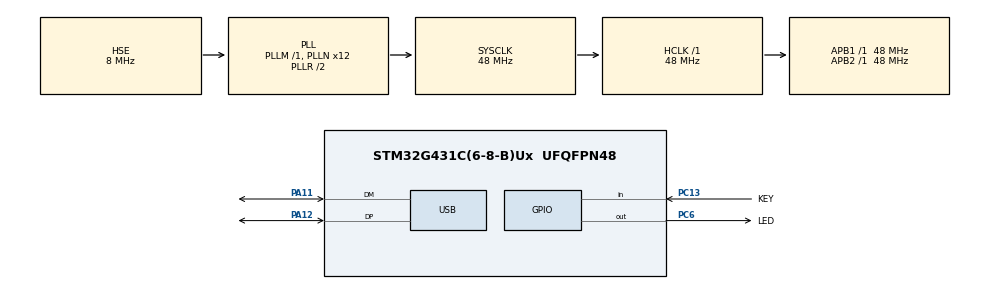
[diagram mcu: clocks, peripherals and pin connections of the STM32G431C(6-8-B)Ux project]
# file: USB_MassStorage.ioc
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Mcu.Family=STM32G4
Mcu.Name=STM32G431C(6-8-B)Ux
Mcu.Package=UFQFPN48
NVIC.PriorityGroup=NVIC_PRIORITYGROUP_4
NVIC.USB_LP_IRQn=true\:0\:0\:false\:false\:true\:false\:true\:true
PA11.Mode=Device
PA11.Signal=USB_DM
PA12.Mode=Device
PA12.Signal=USB_DP
PA13.Mode=Serial_Wire
PA13.Signal=SYS_JTMS-SWDIO
PA14.Mode=Serial_Wire
PA14.Signal=SYS_JTCK-SWCLK
PC13.GPIO_Label=KEY
PC13.GPIO_PuPd=GPIO_PULLDOWN
PC13.Signal=GPIO_Input
PC6.GPIO_Label=LED
PC6.GPIO_ModeDefaultOutputPP=GPIO_MODE_OUTPUT_PP
PC6.GPIO_Speed=GPIO_SPEED_FREQ_LOW
PC6.PinState=GPIO_PIN_RESET
PC6.Signal=GPIO_Output
PF0-OSC_IN.Mode=HSE-External-Oscillator
PF0-OSC_IN.Signal=RCC_OSC_IN
PF1-OSC_OUT.Mode=HSE-External-Oscillator
PF1-OSC_OUT.Signal=RCC_OSC_OUT
ProjectManager.HeapSize=0x200
ProjectManager.StackSize=0x400
ProjectManager.TargetToolchain=STM32CubeIDE
RCC.ADC12Freq_Value=48000000
RCC.AHBFreq_Value=48000000
RCC.APB1Freq_Value=48000000
RCC.APB1TimFreq_Value=48000000
RCC.APB2Freq_Value=48000000
RCC.APB2TimFreq_Value=48000000
RCC.CortexFreq_Value=48000000
RCC.EXTERNAL_CLOCK_VALUE=12288000
RCC.HCLKFreq_Value=48000000
RCC.HSE_VALUE=8000000
RCC.HSI48_VALUE=48000000
RCC.HSI_VALUE=16000000
RCC.LSE_VALUE=32768
RCC.PLLN=12
RCC.PLLSourceVirtual=RCC_PLLSOURCE_HSE
RCC.SYSCLKFreq_VALUE=48000000
RCC.SYSCLKSource=RCC_SYSCLKSOURCE_PLLCLK
RCC.USBFreq_Value=48000000
RCC.VCOOutputFreq_Value=96000000
USB_DEVICE.CLASS_NAME_FS=MSC
USB_DEVICE.VirtualMode=Msc
USB_DEVICE.VirtualModeFS=Msc_FS
VP_SYS_VS_DBSignals.Mode=DisableDeadBatterySignals
VP_USB_DEVICE_VS_USB_DEVICE_MSC_FS.Mode=MSC_FS
board=custom

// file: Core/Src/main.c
/* USER CODE BEGIN Header */
/**
  ******************************************************************************
  * @file           : main.c
  * @brief          : Main program body
  ******************************************************************************
  * @attention
  *
  * Copyright (c) 2025 STMicroelectronics.
  * All rights reserved.
  *
  * This software is licensed under terms that can be found in the LICENSE file
  * in the root directory of this software component.
  * If no LICENSE file comes with this software, it is provided AS-IS.
  *
  ******************************************************************************
  */
/* USER CODE END Header */
#include "main.h"
#include "usb_device.h"

/* USER CODE BEGIN PV */

extern USBD_HandleTypeDef hUsbDeviceFS;

/* USER CODE END PV */

void SystemClock_Config(void);
static void MX_GPIO_Init(void);

/* USER CODE BEGIN 0 */
#define APP_DEFAULT_ADD	0x08008000U

void GoToUserApp(void)
{
	uint32_t appJumpAddress;
	void (*GoToApp)(void);

	appJumpAddress = *((volatile uint32_t*)(APP_DEFAULT_ADD + 4));
	GoToApp = (void (*)(void))appJumpAddress;
	SCB->VTOR = APP_DEFAULT_ADD;
	__set_MSP(*((volatile uint32_t*) APP_DEFAULT_ADD)); //stack pointer (to RAM) for USER app in this address
	GoToApp();
}
/* USER CODE END 0 */

int main(void)
{

  /* MCU Configuration--------------------------------------------------------*/

  /* Reset of all peripherals, Initializes the Flash interface and the Systick. */
  HAL_Init();

  /* Configure the system clock */
  SystemClock_Config();

  /* Initialize all configured peripherals */
  MX_GPIO_Init();
  MX_USB_Device_Init();
  /* USER CODE BEGIN 2 */

	// Check if the KEY Button is pressed
	if(HAL_GPIO_ReadPin(KEY_GPIO_Port, KEY_Pin ) == GPIO_PIN_RESET)
	{
		HAL_GPIO_DeInit(LED_GPIO_Port, LED_Pin);
		HAL_GPIO_DeInit(KEY_GPIO_Port, KEY_Pin);
		USBD_DeInit(&hUsbDeviceFS);

		GoToUserApp();
	}

  /* USER CODE END 2 */

  /* Infinite loop */
  /* USER CODE BEGIN WHILE */
  while (1)
  {
	  HAL_GPIO_TogglePin(LED_GPIO_Port, LED_Pin);
	  HAL_Delay(100);
    /* USER CODE END WHILE */

  }
}

void SystemClock_Config(void)
{
  RCC_OscInitTypeDef RCC_OscInitStruct = {0};
  RCC_ClkInitTypeDef RCC_ClkInitStruct = {0};

  /** Configure the main internal regulator output voltage
  */
  HAL_PWREx_ControlVoltageScaling(PWR_REGULATOR_VOLTAGE_SCALE1);

  /** Initializes the RCC Oscillators according to the specified parameters
  * in the RCC_OscInitTypeDef structure.
  */
  RCC_OscInitStruct.OscillatorType = RCC_OSCILLATORTYPE_HSE;
  RCC_OscInitStruct.HSEState = RCC_HSE_ON;
  RCC_OscInitStruct.PLL.PLLState = RCC_PLL_ON;
  RCC_OscInitStruct.PLL.PLLSource = RCC_PLLSOURCE_HSE;
  RCC_OscInitStruct.PLL.PLLM = RCC_PLLM_DIV1;
  RCC_OscInitStruct.PLL.PLLN = 12;
  RCC_OscInitStruct.PLL.PLLP = RCC_PLLP_DIV2;
  RCC_OscInitStruct.PLL.PLLQ = RCC_PLLQ_DIV2;
  RCC_OscInitStruct.PLL.PLLR = RCC_PLLR_DIV2;
  if (HAL_RCC_OscConfig(&RCC_OscInitStruct) != HAL_OK)
  {
    Error_Handler();
  }

  /** Initializes the CPU, AHB and APB buses clocks
  */
  RCC_ClkInitStruct.ClockType = RCC_CLOCKTYPE_HCLK|RCC_CLOCKTYPE_SYSCLK
                              |RCC_CLOCKTYPE_PCLK1|RCC_CLOCKTYPE_PCLK2;
  RCC_ClkInitStruct.SYSCLKSource = RCC_SYSCLKSOURCE_PLLCLK;
  RCC_ClkInitStruct.AHBCLKDivider = RCC_SYSCLK_DIV1;
  RCC_ClkInitStruct.APB1CLKDivider = RCC_HCLK_DIV1;
  RCC_ClkInitStruct.APB2CLKDivider = RCC_HCLK_DIV1;

  if (HAL_RCC_ClockConfig(&RCC_ClkInitStruct, FLASH_LATENCY_1) != HAL_OK)
  {
    Error_Handler();
  }
}

static void MX_GPIO_Init(void)
{
  GPIO_InitTypeDef GPIO_InitStruct = {0};

  /* GPIO Ports Clock Enable */
  __HAL_RCC_GPIOC_CLK_ENABLE();
  __HAL_RCC_GPIOF_CLK_ENABLE();
  __HAL_RCC_GPIOA_CLK_ENABLE();

  /*Configure GPIO pin Output Level */
  HAL_GPIO_WritePin(LED_GPIO_Port, LED_Pin, GPIO_PIN_RESET);

  /*Configure GPIO pin : KEY_Pin */
  GPIO_InitStruct.Pin = KEY_Pin;
  GPIO_InitStruct.Mode = GPIO_MODE_INPUT;
  GPIO_InitStruct.Pull = GPIO_PULLDOWN;
  HAL_GPIO_Init(KEY_GPIO_Port, &GPIO_InitStruct);

  /*Configure GPIO pin : LED_Pin */
  GPIO_InitStruct.Pin = LED_Pin;
  GPIO_InitStruct.Mode = GPIO_MODE_OUTPUT_PP;
  GPIO_InitStruct.Pull = GPIO_NOPULL;
  GPIO_InitStruct.Speed = GPIO_SPEED_FREQ_LOW;
  HAL_GPIO_Init(LED_GPIO_Port, &GPIO_InitStruct);

}

void Error_Handler(void)
{
  __disable_irq();
  while (1)
  {
  }
}
